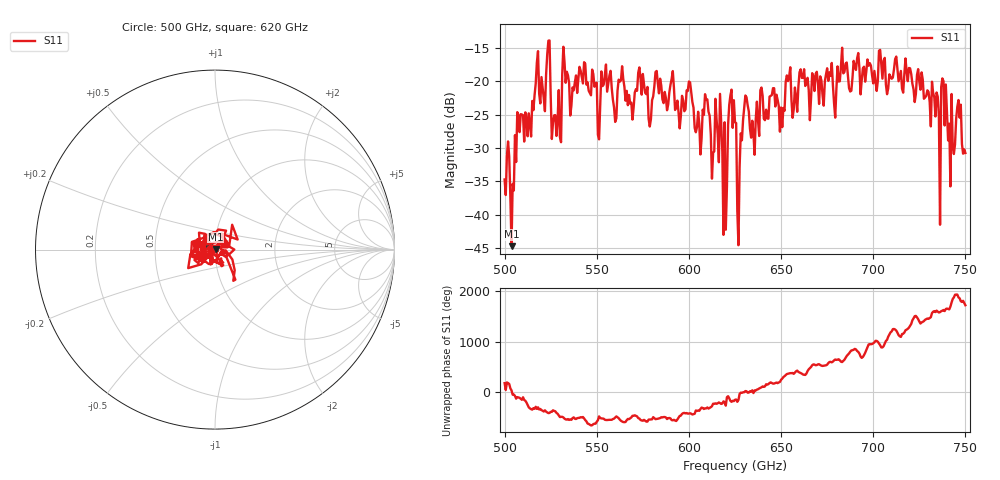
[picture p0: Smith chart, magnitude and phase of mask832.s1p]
!Created with skrf (http://scikit-rf.org).
# GHz S MA R 50.0
!freq magS11 angS11
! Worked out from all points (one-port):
!   401 points, 500 GHz to 750 GHz, reference 50 ohm
!   lowest |S11| = -44.7 dB at 503.8 GHz (marker M1), VSWR 1.01, Z = 50.5 + j0.315 ohm
!   |S11| at or under -10 dB: start of sweep to end of sweep
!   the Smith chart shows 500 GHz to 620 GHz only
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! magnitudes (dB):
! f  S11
! 500 GHz  -34.7
! 503.8 GHz  -44.7
! 508.1 GHz  -27.6
! 513.1 GHz  -24.8
! 517.5 GHz  -17.2
! 523.8 GHz  -13.9
! 526.9 GHz  -25.1
! 531.2 GHz  -19.0
! 560 GHz  -26.1
! 562.5 GHz  -20.1
! 593.8 GHz  -22.9
! 610 GHz  -22.7
! 612.5 GHz  -34.6
! 616.2 GHz  -32.1
! 619.4 GHz  -26.1
! 622.5 GHz  -22.1
! 625 GHz  -26.2
! 627.5 GHz  -32.8
! 630.6 GHz  -22.1
! 634.4 GHz  -25.9
! 656.2 GHz  -25.5
! 687.5 GHz  -21.5
! 718.8 GHz  -20.0
! 735 GHz  -22.3
! 738.1 GHz  -20.0
! 743.1 GHz  -29.8
! 746.2 GHz  -22.8
! 750 GHz  -30.8
